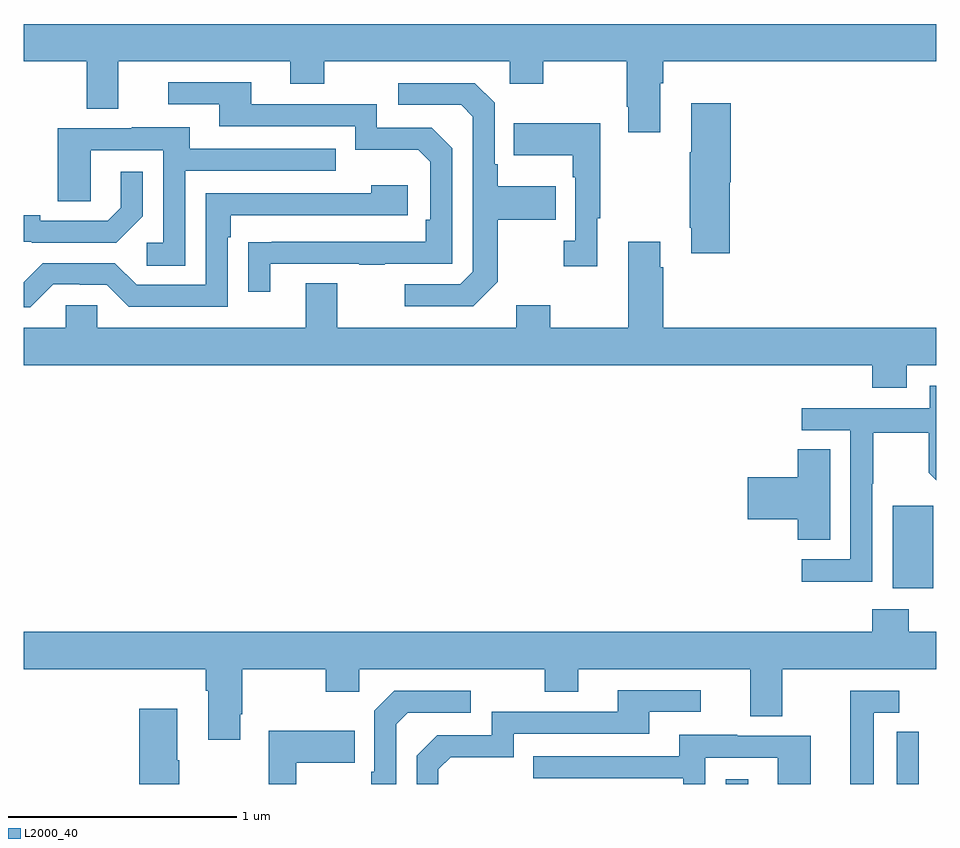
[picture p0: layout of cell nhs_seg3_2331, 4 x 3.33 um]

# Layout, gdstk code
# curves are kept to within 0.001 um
import gdstk
lib = gdstk.Library(unit=1e-6, precision=1e-09)
def R(c, l, rs):  # rectangles x0, y0, x1, y1
    for r in rs: c.add(gdstk.rectangle(r[:2], r[2:], *l))
def P(c, l, *ps):  # polygons
    for p in ps: c.add(gdstk.Polygon(p, *l))
L2000_40 = (2000, 40)

nhs_seg3_2331 = lib.new_cell('nhs_seg3_2331')
R(nhs_seg3_2331, L2000_40, [(234.078,712.4,234.175,712.42), (234.809,713.258,234.988,713.619)])
P(nhs_seg3_2331, L2000_40, [(233.791,715.472),(233.804,715.472),(233.804,715.568),(235,715.568),(235,715.732),(231,715.732),(231,715.568),(231.275,715.568),(231.275,715.36),(231.415,715.36),(231.415,715.568),(232.169,715.568),(232.169,715.469),(232.317,715.469),(232.317,715.568),(233.13,715.568),(233.13,715.469),(233.277,715.469),(233.277,715.568),(233.644,715.568),(233.644,715.369),(233.651,715.369),(233.651,715.257),(233.791,715.257)],
  [(232.081,714.681),(232.471,714.681),(232.471,714.676),(232.583,714.676),(232.583,714.681),(232.878,714.681),(232.878,715.188),(232.788,715.278),(232.548,715.278),(232.548,715.38),(231.997,715.38),(231.997,715.476),(231.633,715.476),(231.633,715.38),(231.857,715.38),(231.857,715.284),(232.452,715.284),(232.452,715.181),(232.729,715.181),(232.782,715.128),(232.782,714.874),(232.762,714.874),(232.762,714.777),(231.985,714.776),(231.985,714.558),(232.081,714.558)],
  [(233.077,714.601),(233.077,714.874),(233.333,714.874),(233.333,715.021),(233.077,715.021),(233.077,715.117),(233.064,715.117),(233.064,715.386),(232.977,715.473),(232.641,715.473),(232.641,715.377),(232.917,715.377),(232.968,715.326),(232.968,714.645),(232.914,714.591),(232.671,714.591),(232.671,714.495),(232.971,714.495)],
  [(234.095,715.038),(234.1,715.038),(234.1,715.384),(233.927,715.384),(233.927,715.169),(233.92,715.169),(233.92,714.838),(233.927,714.838),(233.927,714.726),(234.095,714.726)],
  [(233.515,714.881),(233.527,714.881),(233.527,715.297),(233.149,715.297),(233.149,715.157),(233.406,715.157),(233.406,715.061),(233.418,715.061),(233.418,714.782),(233.367,714.782),(233.367,714.669),(233.515,714.669)],
  [(231.708,715.089),(232.367,715.089),(232.367,715.185),(231.727,715.185),(231.727,715.279),(231.473,715.279),(231.473,715.275),(231.149,715.275),(231.149,714.955),(231.294,714.955),(231.294,715.179),(231.612,715.179),(231.612,714.774),(231.54,714.774),(231.54,714.673),(231.708,714.673)],
  [(231.522,714.89),(231.522,715.084),(231.425,715.084),(231.425,714.927),(231.368,714.87),(231.073,714.87),(231.073,714.893),(231,714.893),(231,714.777),(231.034,714.777),(231.034,714.774),(231.406,714.774)],
  [(231.129,714.591),(231.245,714.591),(231.245,714.588),(231.363,714.588),(231.459,714.492),(231.894,714.492),(231.894,714.797),(231.907,714.797),(231.907,714.894),(232.684,714.894),(232.684,715.024),(232.523,715.024),(232.523,714.99),(231.798,714.99),(231.798,714.588),(231.495,714.588),(231.399,714.684),(231.084,714.684),(231,714.6),(231,714.491),(231.029,714.491)],
  [(234.871,714.236),(235,714.236),(235,714.4),(233.804,714.4),(233.804,714.665),(233.791,714.665),(233.791,714.778),(233.651,714.778),(233.651,714.4),(233.307,714.4),(233.307,714.499),(233.159,714.499),(233.159,714.4),(232.375,714.4),(232.375,714.595),(232.235,714.595),(232.235,714.4),(231.321,714.4),(231.321,714.498),(231.183,714.498),(231.183,714.4),(231,714.4),(231,714.236),(234.719,714.236),(234.719,714.137),(234.871,714.137)],
  [(234.72,713.716),(234.723,713.716),(234.723,713.94),(234.967,713.94),(234.967,713.765),(235,713.732),(235,714.145),(234.972,714.145),(234.972,714.048),(234.411,714.048),(234.411,713.952),(234.624,713.952),(234.624,713.385),(234.411,713.385),(234.411,713.287),(234.72,713.287)],
  [(234.535,713.867),(234.392,713.867),(234.392,713.744),(234.174,713.744),(234.174,713.561),(234.392,713.561),(234.392,713.47),(234.535,713.47)],
  [(231.949,712.705),(231.957,712.705),(231.957,712.904),(232.324,712.904),(232.324,712.805),(232.47,712.805),(232.47,712.904),(233.284,712.904),(233.284,712.805),(233.431,712.805),(233.431,712.904),(234.185,712.904),(234.185,712.696),(234.325,712.696),(234.325,712.904),(235,712.904),(235,713.068),(234.879,713.068),(234.879,713.167),(234.719,713.167),(234.719,713.068),(231,713.068),(231,712.904),(231.797,712.904),(231.797,712.808),(231.809,712.808),(231.809,712.593),(231.949,712.593)],
  [(232.818,712.464),(232.871,712.517),(233.148,712.517),(233.148,712.62),(233.743,712.62),(233.743,712.716),(233.968,712.716),(233.968,712.812),(233.603,712.812),(233.603,712.716),(233.052,712.716),(233.052,712.614),(232.812,712.614),(232.722,712.524),(232.722,712.4),(232.818,712.4)],
  [(234.727,712.713),(234.838,712.713),(234.838,712.809),(234.623,712.809),(234.623,712.4),(234.727,712.4)],
  [(232.632,712.662),(232.683,712.713),(232.96,712.713),(232.96,712.809),(232.623,712.809),(232.536,712.722),(232.536,712.453),(232.524,712.453),(232.524,712.4),(232.632,712.4)],
  [(231.681,712.505),(231.673,712.505),(231.673,712.729),(231.506,712.729),(231.506,712.4),(231.681,712.4)],
  [(232.195,712.493),(232.451,712.493),(232.451,712.633),(232.074,712.633),(232.074,712.4),(232.195,712.4)],
  [(234.923,712.474),(234.924,712.474),(234.924,712.628),(234.828,712.628),(234.828,712.4),(234.923,712.4)],
  [(233.988,712.515),(234.306,712.515),(234.306,712.4),(234.451,712.4),(234.451,712.611),(234.127,712.611),(234.127,712.615),(233.873,712.615),(233.873,712.521),(233.233,712.521),(233.233,712.425),(233.892,712.425),(233.892,712.4),(233.988,712.4)])

lib.write_gds('nhs_seg3_2331.gds')
